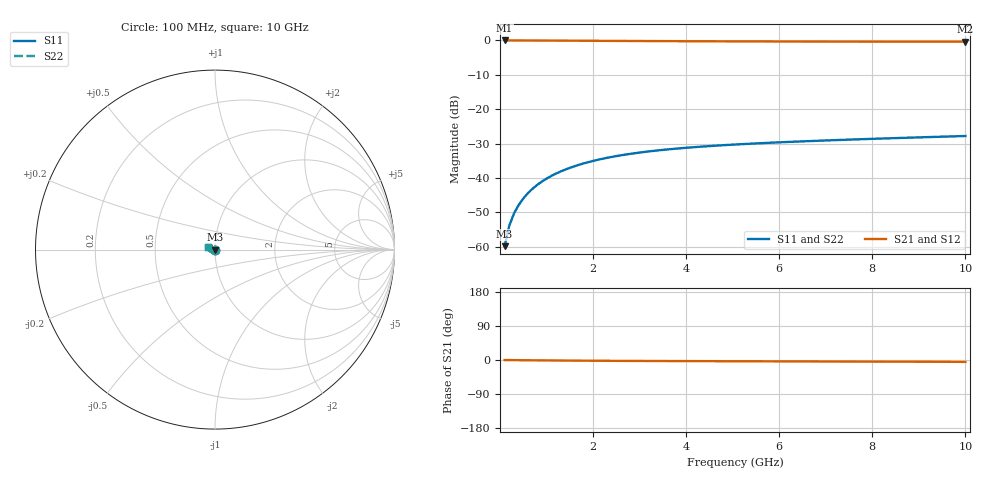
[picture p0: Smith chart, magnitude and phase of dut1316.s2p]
! Touchstone file exported from HFSS 2024.1.0
!  File:  C:/UserFiles/LocalFiles/RDL_TSV_Batchsim/temp_TSV1_1316_1780373893.aedt
!  Generated:  12:23:21 PM Jun  2, 2026
!  Design:  TSV1
!  Project:  temp_TSV1_1316_1780373893
!  Setup:  Setup1
!  Solution:  Sweep
! Variables:
!  dtsv = 9.48um
!  hbump = 3um
!  htsv = 73.42um
!  lrdl = 252.1521522um
!  p = 40
!  p1 = 56.43um
!  t = 500um
!  trdl = 3um
!  wrdl = 24.89489489um
# GHz S MA R 50.000000
! Terminal data exported
! Port[1] = TSV22_T1
! Port[2] = TSV22_T2
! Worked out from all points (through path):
!   100 points, 100 MHz to 10 GHz, reference 50 ohm
!   highest |S21| = 0.00 dB at 100 MHz (marker M1); lowest = -0.4 dB at 10 GHz (marker M2)
!   lowest |S11| = -59.9 dB at 100 MHz (marker M3), VSWR 1.00, Z = 50 - j0.101 ohm
!   |S11| at or under -10 dB: start of sweep to end of sweep
!   |S22| runs from -59.9 to -27.8 dB; largest |S21 - S12| = 1.1e-14
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0.1  0.001014 -83.5  0.9998 -0.1  0.9998 -0.1  0.001014 -83.5
! Gamma 0 0 0 0
! Port Impedance 50 0 50 0
0.2  0.002013 -89.6  0.9997 -0.2  0.9997 -0.2  0.002013 -89.6
0.3  0.003015 -93.1  0.9995 -0.3  0.9995 -0.3  0.003015 -93.1
0.4  0.004013 -95.9  0.9992 -0.5  0.9992 -0.5  0.004013 -95.9
0.5  0.005003 -98.4  0.9989 -0.6  0.9989 -0.6  0.005003 -98.4
0.6  0.005981 -100.8  0.9985 -0.7  0.9985 -0.7  0.005981 -100.8
0.7  0.006945 -103.0  0.998 -0.8  0.998 -0.8  0.006945 -103.0
0.8  0.007894 -105.2  0.9975 -0.9  0.9975 -0.9  0.007894 -105.2
0.9  0.008825 -107.3  0.9969 -1.0  0.9969 -1.0  0.008825 -107.3
1.1  0.01063 -111.5  0.9957 -1.2  0.9957 -1.2  0.01063 -111.5
1.4  0.01318 -117.3  0.9935 -1.5  0.9935 -1.5  0.01318 -117.3
1.6  0.01476 -121.0  0.992 -1.6  0.992 -1.6  0.01476 -121.0
1.8  0.01625 -124.6  0.9903 -1.8  0.9903 -1.8  0.01625 -124.6
2.1  0.01831 -129.6  0.9879 -2.0  0.9879 -2.0  0.01831 -129.6
2.5  0.02074 -135.9  0.9846 -2.2  0.9846 -2.2  0.02074 -135.9
2.9  0.02286 -141.7  0.9816 -2.5  0.9816 -2.5  0.02286 -141.7
3.4  0.02512 -148.2  0.9781 -2.7  0.9781 -2.7  0.02512 -148.2
4.2  0.02807 -157.4  0.9734 -3.0  0.9734 -3.0  0.02807 -157.3
5.1  0.0307 -166.1  0.9693 -3.3  0.9693 -3.3  0.0307 -166.1
6.7  0.0344 -178.8  0.9642 -3.8  0.9642 -3.8  0.0344 -178.8
8.4  0.03773 170.4  0.9607 -4.4  0.9607 -4.4  0.03773 170.4
10  0.04067 162.0  0.9584 -4.9  0.9584 -4.9  0.04066 162.0
